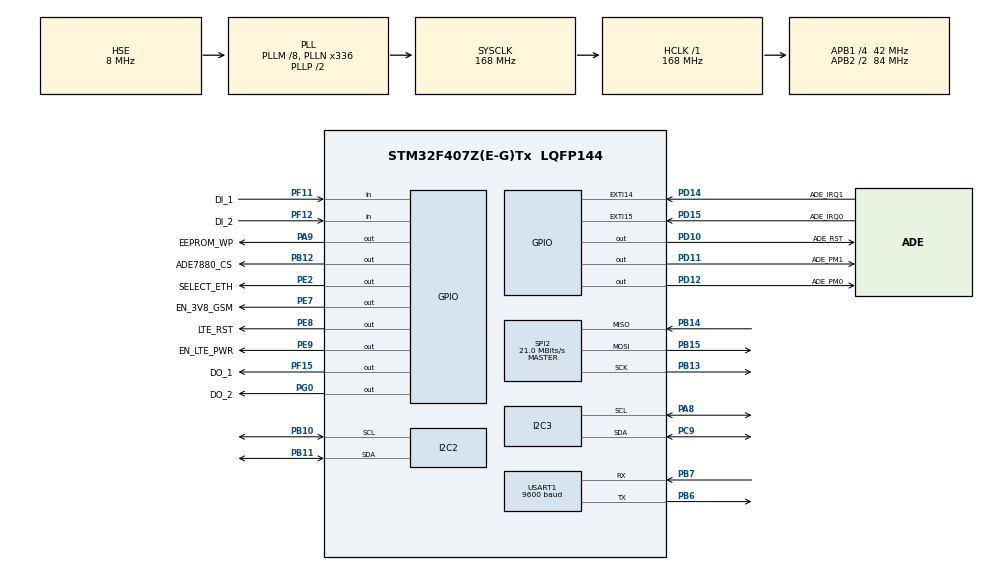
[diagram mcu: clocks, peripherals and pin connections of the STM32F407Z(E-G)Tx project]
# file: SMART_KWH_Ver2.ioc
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I2C2.I2C_Mode=I2C_Fast
I2C3.I2C_Mode=I2C_Fast
IWDG.Prescaler=IWDG_PRESCALER_256
Mcu.Family=STM32F4
Mcu.Name=STM32F407Z(E-G)Tx
Mcu.Package=LQFP144
NVIC.PriorityGroup=NVIC_PRIORITYGROUP_4
NVIC.USART1_IRQn=true\:0\:0\:false\:false\:true\:true\:true\:true
PA13.Mode=Serial_Wire
PA13.Signal=SYS_JTMS-SWDIO
PA14.Mode=Serial_Wire
PA14.Signal=SYS_JTCK-SWCLK
PA8.Mode=I2C
PA8.Signal=I2C3_SCL
PA9.GPIO_Label=EEPROM_WP
PA9.Signal=GPIO_Output
PB10.Mode=I2C
PB10.Signal=I2C2_SCL
PB11.Mode=I2C
PB11.Signal=I2C2_SDA
PB12.GPIO_Label=ADE7880_CS
PB12.Signal=GPIO_Output
PB13.Mode=Full_Duplex_Master
PB13.Signal=SPI2_SCK
PB14.Mode=Full_Duplex_Master
PB14.Signal=SPI2_MISO
PB15.Mode=Full_Duplex_Master
PB15.Signal=SPI2_MOSI
PB6.Mode=Asynchronous
PB6.Signal=USART1_TX
PB7.Mode=Asynchronous
PB7.Signal=USART1_RX
PC9.Mode=I2C
PC9.Signal=I2C3_SDA
PD10.GPIO_Label=ADE_RST
PD10.Signal=GPIO_Output
PD11.GPIO_Label=ADE_PM1
PD11.Signal=GPIO_Output
PD12.GPIO_Label=ADE_PM0
PD12.Signal=GPIO_Output
PD14.GPIO_Label=ADE_IRQ1
PD14.Signal=GPXTI14
PD15.GPIO_Label=ADE_IRQ0
PD15.Signal=GPXTI15
PE2.GPIO_Label=SELECT_ETH
PE2.Signal=GPIO_Output
PE7.GPIO_Label=EN_3V8_GSM
PE7.Signal=GPIO_Output
PE8.GPIO_Label=LTE_RST
PE8.Signal=GPIO_Output
PE9.GPIO_Label=EN_LTE_PWR
PE9.Signal=GPIO_Output
PF11.GPIO_Label=DI_1
PF11.Signal=GPIO_Input
PF12.GPIO_Label=DI_2
PF12.Signal=GPIO_Input
PF15.GPIO_Label=DO_1
PF15.Signal=GPIO_Output
PG0.GPIO_Label=DO_2
PG0.Signal=GPIO_Output
PH0-OSC_IN.Mode=HSE-External-Oscillator
PH0-OSC_IN.Signal=RCC_OSC_IN
PH1-OSC_OUT.Mode=HSE-External-Oscillator
PH1-OSC_OUT.Signal=RCC_OSC_OUT
ProjectManager.HeapSize=0x200
ProjectManager.StackSize=0x400
ProjectManager.TargetToolchain=STM32CubeIDE
RCC.48MHZClocksFreq_Value=84000000
RCC.AHBFreq_Value=168000000
RCC.APB1CLKDivider=RCC_HCLK_DIV4
RCC.APB1Freq_Value=42000000
RCC.APB1TimFreq_Value=84000000
RCC.APB2CLKDivider=RCC_HCLK_DIV2
RCC.APB2Freq_Value=84000000
RCC.APB2TimFreq_Value=168000000
RCC.CortexFreq_Value=168000000
RCC.HCLKFreq_Value=168000000
RCC.HSE_VALUE=8000000
RCC.HSI_VALUE=16000000
RCC.LSE_VALUE=32768
RCC.PLLM=8
RCC.PLLN=336
RCC.PLLSourceVirtual=RCC_PLLSOURCE_HSE
RCC.SYSCLKFreq_VALUE=168000000
RCC.SYSCLKSource=RCC_SYSCLKSOURCE_PLLCLK
RCC.VCOOutputFreq_Value=336000000
SPI2.CalculateBaudRate=21.0 MBits/s
SPI2.Direction=SPI_DIRECTION_2LINES
SPI2.Mode=SPI_MODE_MASTER
SPI2.VirtualType=VM_MASTER
USART1.BaudRate=9600
USART1.VirtualMode=VM_ASYNC
VP_IWDG_VS_IWDG.Mode=IWDG_Activate
board=custom

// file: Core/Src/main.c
/* USER CODE BEGIN Header */
/**
  ******************************************************************************
  * @file           : main.c
  * @brief          : Main program body
  ******************************************************************************
  * @attention
  *
  * Copyright (c) 2026 STMicroelectronics.
  * All rights reserved.
  *
  * This software is licensed under terms that can be found in the LICENSE file
  * in the root directory of this software component.
  * If no LICENSE file comes with this software, it is provided AS-IS.
  *
  ******************************************************************************
  */
/* USER CODE END Header */
#include "main.h"

/* USER CODE BEGIN Includes */
#include "ade7880_reader.h"
#include "mqtt.h"
#include "uart.h"
#include "config.h"
#include "ssd1306.h"
#include <stdlib.h>
#include <stdio.h>
/* USER CODE END Includes */

/* USER CODE BEGIN PTD */
#define READ_INTERVAL_MS    1000        /* Baca sensor setiap 1 detik  */
#define PUBLISH_INTERVAL_MS 30000       /* Kirim MQTT setiap 30 detik  */
#define STUCK_THRESHOLD     10          /* Reinit jika nilai sama N kali */

static uint32_t last_read_tick    = 0;  /* timer pembacaan sensor  */
static uint32_t last_publish_tick = 0;  /* timer pengiriman MQTT   */
static float    last_VRms_R    = -1;
static float    last_VRms_S    = -1;
static float    last_VRms_T    = -1;
static uint8_t  stuck_count    = 0;

/* ─────────────────────────────────────────────────────────────────────────── */
/*  KONTROL RELAY                                                              */
/* ─────────────────────────────────────────────────────────────────────────── */
/* true  = DO2 mengikuti DI2 (normal)                                         */
/* false = DO2 selalu LOW, berapapun nilai DI2 (dinonaktifkan via MQTT R2=0)  */
static bool relay2_enabled = true;

/* ─────────────────────────────────────────────────────────────────────────── */
/*  PEMBACAAN MODEM QUECTEL                                                  */
/* ─────────────────────────────────────────────────────────────────────────── */
static int     retry_count    = 0;
static int     total_retry    = 0;
//static uint8_t mqtt_published = 0;
static char    last_topic[128]   = {0};
static char    last_payload[512] = {0};
/* USER CODE END PTD */

I2C_HandleTypeDef hi2c2;
I2C_HandleTypeDef hi2c3;

IWDG_HandleTypeDef hiwdg;

SPI_HandleTypeDef hspi2;

UART_HandleTypeDef huart1;

void SystemClock_Config(void);
static void MX_GPIO_Init(void);
static void MX_SPI2_Init(void);
static void MX_IWDG_Init(void);
static void MX_USART1_UART_Init(void);
static void MX_I2C2_Init(void);
static void MX_I2C3_Init(void);

int main(void)
{

  /* MCU Configuration--------------------------------------------------------*/

  /* Reset of all peripherals, Initializes the Flash interface and the Systick. */
  HAL_Init();

  /* Configure the system clock */
  SystemClock_Config();

  /* Initialize all configured peripherals */
  MX_GPIO_Init();
  MX_SPI2_Init();
  MX_IWDG_Init();
  MX_USART1_UART_Init();
  MX_I2C2_Init();
  MX_I2C3_Init();
  /* USER CODE BEGIN 2 */
  ADE7880_Config();
  SSD1309_Init(&hi2c2);
  HAL_IWDG_Refresh(&hiwdg);
  UART_Init_Buffer(&huart1);  /* modem terhubung ke USART1 di board ini */

  HAL_GPIO_WritePin(EN_3V8_GSM_GPIO_Port, EN_3V8_GSM_Pin, GPIO_PIN_SET);
  HAL_GPIO_WritePin(EN_LTE_PWR_GPIO_Port, EN_LTE_PWR_Pin, GPIO_PIN_SET);
  HAL_GPIO_WritePin(LTE_RST_GPIO_Port,    LTE_RST_Pin,    GPIO_PIN_RESET);
  HAL_GPIO_WritePin(SELECT_ETH_GPIO_Port, SELECT_ETH_Pin, GPIO_PIN_RESET);

    SSD1309_Clear();
    HAL_Delay(50);
    SSD1309_DrawBitmap(siklon_logo, 6);
    SSD1309_ShowStringCenter(7,"HANDAL-TERANGMUDAH");
    HAL_Delay(4000);
    SSD1309_Clear();
    SSD1309_ShowString(0,0,"Mulai MQTT");
    SSD1309_ShowString(80,0,":...");
    SSD1309_ShowString(0,1,"Koneksi MQTT");
    SSD1309_ShowString(80,1,":...");
    SSD1309_ShowString(0,2,"Daftar Topik");
    SSD1309_ShowString(80,2,":...");
    SSD1309_ShowStringCenter(6,"== SMART KWH Ver.2 ==");
    SSD1309_ShowStringCenter(7,"== MEMUAT... ==");

    HAL_Delay(6000);
    UART_ClearBuffer();
    HAL_Delay(500);

    for (int i = 0; i < 3; i++)
    {
        UART_SendATCommand("ATE0");
        if (UART_WaitForOK(2000)) break;
        HAL_Delay(500);
    }

    /* ── Build MQTT credentials dari config.c ───────────────────────────────── */
    MQTT_Config mqtt_cfg = Config_GetMQTT();
    MQTT_Init(&mqtt_cfg);

    /* ── MQTT connection sequence ────────────────────────────────────────────── */
    MQTT_START:
    retry_count = 0;
    total_retry = 0;

    UART_SendATCommand("AT+QMTCFG=\"session\",0,1");
    UART_WaitForOK(3000);
    UART_SendATCommand("AT+QMTCFG=\"keepalive\",0,3600");
    UART_WaitForOK(3000);

    UART_SendATCommand("AT+QMTDISC=0");
    HAL_Delay(500);
    UART_SendATCommand("AT+QMTCLOSE=0");
    HAL_Delay(2000);

    while (MQTT_Open() != MQTT_OK)
    {
        HAL_IWDG_Refresh(&hiwdg);   /* cegah IWDG reset selama retry (~32s limit) */
        SSD1309_ClearArea(80, 0, 40);
  	    SSD1309_ShowString(80,0,":GAGAL");
        MQTT_CheckNetwork();
        UART_SendATCommand("AT+QMTCLOSE=0");
        HAL_IWDG_Refresh(&hiwdg);
        HAL_Delay(3000);
        retry_count++;
        total_retry++;

        if (total_retry >= 10)
        {
            HAL_GPIO_WritePin(EN_3V8_GSM_GPIO_Port, EN_3V8_GSM_Pin, GPIO_PIN_RESET);
            HAL_GPIO_WritePin(EN_LTE_PWR_GPIO_Port, EN_LTE_PWR_Pin, GPIO_PIN_RESET);
            HAL_IWDG_Refresh(&hiwdg);
            HAL_Delay(3000);
            NVIC_SystemReset();
            while (1) {}
        }
        if (retry_count >= 5)
        {
            retry_count = 0;
            goto MQTT_START;
        }
    }
    SSD1309_ClearArea(80, 0, 40);
    SSD1309_ShowString(80,0,":SIAP");

    while (MQTT_Connect() != MQTT_OK)
    {
        HAL_IWDG_Refresh(&hiwdg);
  	    SSD1309_ClearArea(80, 1, 40);
  	    SSD1309_ShowString(80,1,":GAGAL");
        UART_SendATCommand("AT+QMTDISC=0");
        retry_count++;
        HAL_Delay(500);
        if (retry_count >= 3)
        {
            retry_count = 0;
            goto MQTT_START;
        }
        total_retry++;
        if (total_retry > 10)
        {
            NVIC_SystemReset();
            while (1) {}
        }
    }
    SSD1309_ClearArea(80, 1, 40);
    SSD1309_ShowString(80,1,":SIAP");

    retry_count = 0;
    while (MQTT_Subscribe(mqtt_topic_sub, 1) != MQTT_OK)
    {
        HAL_IWDG_Refresh(&hiwdg);
  	    SSD1309_ClearArea(80, 2, 40);
  	    SSD1309_ShowString(80,2,":GAGAL");
        HAL_Delay(2000);
        retry_count++;
        if (retry_count >= 5) goto MQTT_START;
    }
    SSD1309_ClearArea(80, 2, 40);
    SSD1309_ShowString(80,2,":SIAP");
    SSD1309_ClearArea(0, 7, 120);
    SSD1309_ShowStringCenter(7,"== TERHUBUNG ==");
    HAL_Delay(1000);

    const char *payload = "{Terhubung dengan Smart-KWV V.2}";
    MQTT_Publish(mqtt_topic_pub, payload, 1, 0);
    SSD1309_Clear();
    HAL_Delay(50);
    /* ── Setup tampilan sensor OLED setelah koneksi berhasil ─────────────── */
    SSD1309_ClearRect(0, 0, 128, 6);           /* bersihkan page 0-5        */
    SSD1309_ShowString(0, 0, "  V(V)   I(A)  P(W)");
    SSD1309_ShowString(0, 1, "R:  --    --     --");
    SSD1309_ShowString(0, 2, "S:  --    --     --");
    SSD1309_ShowString(0, 3, "T:  --    --     --");
    SSD1309_ShowStringCenter(6, "== SMART KWH Ver.2 ==");
    SSD1309_ShowStringCenter(7, "== BERJALAN ==");

    /* Set timer agar publish data sensor dimulai 30 detik setelah koneksi */
    last_read_tick    = HAL_GetTick();
    last_publish_tick = HAL_GetTick();
  /* USER CODE END 2 */

  /* Infinite loop */
  while (1)
  {

    /* USER CODE BEGIN 3 */
      /* ── Pembacaan sensor ADE7880 setiap 1 detik ──────────────────────────── */
      if ((HAL_GetTick() - last_read_tick) >= READ_INTERVAL_MS)
      {
          last_read_tick = HAL_GetTick();

          HAL_IWDG_Refresh(&hiwdg);
          ADE7880_ReadAll();
          HAL_IWDG_Refresh(&hiwdg);

          /* Stuck detection: jika VRms tidak berubah N kali berturut, reinit */
          if (ade_data.VRms_R == last_VRms_R &&
              ade_data.VRms_S == last_VRms_S &&
              ade_data.VRms_T == last_VRms_T)
          {
              stuck_count++;
              if (stuck_count > STUCK_THRESHOLD)
              {
                  ADE7880_Config();
                  stuck_count = 0;
              }
          }
          else
          {
              stuck_count = 0;
          }

          last_VRms_R = ade_data.VRms_R;
          last_VRms_S = ade_data.VRms_S;
          last_VRms_T = ade_data.VRms_T;

          /* ── Update nilai sensor ke OLED setiap 1 detik ──────────────── */
          char oled_buf[24];
          snprintf(oled_buf, sizeof(oled_buf), "R:%5.1f %5.3f %5.0f",
                   ade_data.VRms_R, ade_data.IRms_R, ade_data.Pow_R);
          SSD1309_ClearArea(0, 1, 128);
          SSD1309_ShowString(0, 1, oled_buf);

          snprintf(oled_buf, sizeof(oled_buf), "S:%5.1f %5.3f %5.0f",
                   ade_data.VRms_S, ade_data.IRms_S, ade_data.Pow_S);
          SSD1309_ClearArea(0, 2, 128);
          SSD1309_ShowString(0, 2, oled_buf);

          snprintf(oled_buf, sizeof(oled_buf), "T:%5.1f %5.3f %5.0f",
                   ade_data.VRms_T, ade_data.IRms_T, ade_data.Pow_T);
          SSD1309_ClearArea(0, 3, 128);
          SSD1309_ShowString(0, 3, oled_buf);
      }

      /* ── Pengiriman MQTT berdasarkan request (H:"R") dari downlink ────────
       * Timer 30 detik dinonaktifkan — data dikirim hanya saat ada permintaan.
       * Untuk mengaktifkan kembali: hapus komentar blok di bawah ini.        */
//      if ((HAL_GetTick() - last_publish_tick) >= PUBLISH_INTERVAL_MS)
//      {
//          last_publish_tick = HAL_GetTick();
//          /* ... snprintf + MQTT_Publish ... */
//      }
      if (mqtt_disconnected)
      {
          mqtt_disconnected = false;
          if (MQTT_Reconnect() == MQTT_OK)
          {
              MQTT_Subscribe(mqtt_topic_sub, 1);
          }
          else
          {
              goto MQTT_START;
          }
      }

      /* ── Proses pesan masuk dari MQTT downlink ──────────────────────────── */
      if (mqtt_data_ready)
      {
          if (MQTT_ProcessIncoming(last_topic,   sizeof(last_topic),
                                   last_payload, sizeof(last_payload)))
          {
              /* Buffer sudah disalin ke last_payload — langsung hapus rxBuffer
               * agar pesan MQTT berikutnya bisa masuk ke buffer yang bersih
               * (termasuk saat MQTT_Publish sedang berjalan di bawah).       */
              UART_ClearBuffer();

              /* ── Validasi CRC payload masuk ──────────────────────────────
               * Format yg diharapkan: {"CRC":"XXXX","DATA":{...}}
               * Jika CRC tidak cocok / tidak ada → abaikan payload.          */
              if (!MQTT_VerifyPayloadCRC(last_payload))
              {
                  /* CRC mismatch: payload korup atau format tidak sesuai.
                   * Abaikan dan tunggu pesan berikutnya. */
                  goto SKIP_PAYLOAD;
              }

              /* Ekstrak object DATA agar pencarian field hanya pada konten
               * yang relevan (lebih aman terhadap field di luar DATA).       */
              char data_obj[512];
              if (!MQTT_ExtractDataObject(last_payload, data_obj, sizeof(data_obj)))
                  goto SKIP_PAYLOAD;

              /* ── Command H:"R" — kirim data sensor ADE7880 on-demand ──── */
              if (strstr(data_obj, "\"H\":\"R\"") != NULL)
              {
                  /* Bangun hanya isi object DATA. Wrapper {"CRC":..,"DATA":..}
                   * akan ditambahkan otomatis oleh MQTT_PublishWithCRC().    */
                  char data_payload[800];
                  snprintf(data_payload, sizeof(data_payload),
                      "{"
                      "\"H\":\"K\","
                      "\"VR\":%.2f,\"VS\":%.2f,\"VT\":%.2f,"
                      "\"IR\":%.4f,\"IS\":%.4f,\"IT\":%.4f,"
                      "\"PR\":%.2f,\"PS\":%.2f,\"PT\":%.2f,"
                      "\"WHR\":%.4f,\"WHS\":%.4f,\"WHT\":%.4f,"
                      "\"PFR\":%.3f,\"PFS\":%.3f,\"PFT\":%.3f"
                      "}",
                      ade_data.VRms_R, ade_data.VRms_S, ade_data.VRms_T,
                      ade_data.IRms_R, ade_data.IRms_S, ade_data.IRms_T,
                      ade_data.Pow_R,  ade_data.Pow_S,  ade_data.Pow_T,
                      ade_data.WH_R,   ade_data.WH_S,   ade_data.WH_T,
                      ade_data.Pf_R,   ade_data.Pf_S,   ade_data.Pf_T);
                  HAL_IWDG_Refresh(&hiwdg);
                  MQTT_StatusTypeDef pub_result =
                      MQTT_PublishWithCRC(mqtt_topic_pub, data_payload, 1, 0);
                  HAL_IWDG_Refresh(&hiwdg);

                  /* Reset akumulasi KWH setelah publish berhasil (Pilihan A).
                   * WH mulai hitung ulang dari 0 untuk interval berikutnya.
                   *
                   * TODO: Setelah EEPROM terpasang, tambahkan di sini:
                   *   EEPROM_Save_WH_Offset();  ← simpan total kumulatif
                   *   sebelum reset, agar total tidak hilang saat power off. */
                  if (pub_result == MQTT_OK)
                  {
                      ADE7880_ResetWH();
                  }
              }
              /* ── Command H:"S" — set kontrol relay DO2 ──────────────── */
              else if (strstr(data_obj, "\"H\":\"S\"") != NULL)
              {
                  if      (strstr(data_obj, "\"R2\":1") != NULL)
                      relay2_enabled = true;   /* DO2 ikut DI2 */
                  else if (strstr(data_obj, "\"R2\":0") != NULL)
                      relay2_enabled = false;  /* DO2 paksa LOW */
              }

          SKIP_PAYLOAD:
              ;   /* label akhir; payload selesai diproses / dilewati */
          }
          else
          {
              /* Parsing gagal (format tidak dikenal) — reset manual */
              mqtt_data_ready = false;
              UART_ClearBuffer();
          }
      }

      HAL_Delay(10);
      /* ── Kontrol DO2 ─────────────────────────────────────────────────────
       * relay2_enabled=true  → DO2 mengikuti DI2 (normal)
       * relay2_enabled=false → DO2 selalu LOW (dikunci via MQTT R2=0)       */
      GPIO_PinState di2 = HAL_GPIO_ReadPin(DI_2_GPIO_Port, DI_2_Pin);
      HAL_GPIO_WritePin(DO_2_GPIO_Port, DO_2_Pin,
                        relay2_enabled ? di2 : GPIO_PIN_RESET);
  }
  /* USER CODE END 3 */
}

void SystemClock_Config(void)
{
  RCC_OscInitTypeDef RCC_OscInitStruct = {0};
  RCC_ClkInitTypeDef RCC_ClkInitStruct = {0};

  /** Configure the main internal regulator output voltage
  */
  __HAL_RCC_PWR_CLK_ENABLE();
  __HAL_PWR_VOLTAGESCALING_CONFIG(PWR_REGULATOR_VOLTAGE_SCALE1);

  /** Initializes the RCC Oscillators according to the specified parameters
  * in the RCC_OscInitTypeDef structure.
  */
  RCC_OscInitStruct.OscillatorType = RCC_OSCILLATORTYPE_LSI|RCC_OSCILLATORTYPE_HSE;
  RCC_OscInitStruct.HSEState = RCC_HSE_ON;
  RCC_OscInitStruct.LSIState = RCC_LSI_ON;
  RCC_OscInitStruct.PLL.PLLState = RCC_PLL_ON;
  RCC_OscInitStruct.PLL.PLLSource = RCC_PLLSOURCE_HSE;
  RCC_OscInitStruct.PLL.PLLM = 8;
  RCC_OscInitStruct.PLL.PLLN = 336;
  RCC_OscInitStruct.PLL.PLLP = RCC_PLLP_DIV2;
  RCC_OscInitStruct.PLL.PLLQ = 4;
  if (HAL_RCC_OscConfig(&RCC_OscInitStruct) != HAL_OK)
  {
    Error_Handler();
  }

  /** Initializes the CPU, AHB and APB buses clocks
  */
  RCC_ClkInitStruct.ClockType = RCC_CLOCKTYPE_HCLK|RCC_CLOCKTYPE_SYSCLK
                              |RCC_CLOCKTYPE_PCLK1|RCC_CLOCKTYPE_PCLK2;
  RCC_ClkInitStruct.SYSCLKSource = RCC_SYSCLKSOURCE_PLLCLK;
  RCC_ClkInitStruct.AHBCLKDivider = RCC_SYSCLK_DIV1;
  RCC_ClkInitStruct.APB1CLKDivider = RCC_HCLK_DIV4;
  RCC_ClkInitStruct.APB2CLKDivider = RCC_HCLK_DIV2;

  if (HAL_RCC_ClockConfig(&RCC_ClkInitStruct, FLASH_LATENCY_5) != HAL_OK)
  {
    Error_Handler();
  }
}

static void MX_I2C2_Init(void)
{

  hi2c2.Instance = I2C2;
  hi2c2.Init.ClockSpeed = 400000;
  hi2c2.Init.DutyCycle = I2C_DUTYCYCLE_2;
  hi2c2.Init.OwnAddress1 = 0;
  hi2c2.Init.AddressingMode = I2C_ADDRESSINGMODE_7BIT;
  hi2c2.Init.DualAddressMode = I2C_DUALADDRESS_DISABLE;
  hi2c2.Init.OwnAddress2 = 0;
  hi2c2.Init.GeneralCallMode = I2C_GENERALCALL_DISABLE;
  hi2c2.Init.NoStretchMode = I2C_NOSTRETCH_DISABLE;
  if (HAL_I2C_Init(&hi2c2) != HAL_OK)
  {
    Error_Handler();
  }

}

static void MX_I2C3_Init(void)
{

  hi2c3.Instance = I2C3;
  hi2c3.Init.ClockSpeed = 400000;
  hi2c3.Init.DutyCycle = I2C_DUTYCYCLE_2;
  hi2c3.Init.OwnAddress1 = 0;
  hi2c3.Init.AddressingMode = I2C_ADDRESSINGMODE_7BIT;
  hi2c3.Init.DualAddressMode = I2C_DUALADDRESS_DISABLE;
  hi2c3.Init.OwnAddress2 = 0;
  hi2c3.Init.GeneralCallMode = I2C_GENERALCALL_DISABLE;
  hi2c3.Init.NoStretchMode = I2C_NOSTRETCH_DISABLE;
  if (HAL_I2C_Init(&hi2c3) != HAL_OK)
  {
    Error_Handler();
  }

}

static void MX_IWDG_Init(void)
{

  hiwdg.Instance = IWDG;
  hiwdg.Init.Prescaler = IWDG_PRESCALER_256;
  hiwdg.Init.Reload = 4095;
  if (HAL_IWDG_Init(&hiwdg) != HAL_OK)
  {
    Error_Handler();
  }

}

static void MX_SPI2_Init(void)
{

  /* SPI2 parameter configuration*/
  hspi2.Instance = SPI2;
  hspi2.Init.Mode = SPI_MODE_MASTER;
  hspi2.Init.Direction = SPI_DIRECTION_2LINES;
  hspi2.Init.DataSize = SPI_DATASIZE_8BIT;
  hspi2.Init.CLKPolarity = SPI_POLARITY_LOW;
  hspi2.Init.CLKPhase = SPI_PHASE_1EDGE;
  hspi2.Init.NSS = SPI_NSS_SOFT;
  hspi2.Init.BaudRatePrescaler = SPI_BAUDRATEPRESCALER_2;
  hspi2.Init.FirstBit = SPI_FIRSTBIT_MSB;
  hspi2.Init.TIMode = SPI_TIMODE_DISABLE;
  hspi2.Init.CRCCalculation = SPI_CRCCALCULATION_DISABLE;
  hspi2.Init.CRCPolynomial = 10;
  if (HAL_SPI_Init(&hspi2) != HAL_OK)
  {
    Error_Handler();
  }

}

static void MX_USART1_UART_Init(void)
{

  huart1.Instance = USART1;
  huart1.Init.BaudRate = 9600;
  huart1.Init.WordLength = UART_WORDLENGTH_8B;
  huart1.Init.StopBits = UART_STOPBITS_1;
  huart1.Init.Parity = UART_PARITY_NONE;
  huart1.Init.Mode = UART_MODE_TX_RX;
  huart1.Init.HwFlowCtl = UART_HWCONTROL_NONE;
  huart1.Init.OverSampling = UART_OVERSAMPLING_16;
  if (HAL_UART_Init(&huart1) != HAL_OK)
  {
    Error_Handler();
  }

}

static void MX_GPIO_Init(void)
{
  GPIO_InitTypeDef GPIO_InitStruct = {0};

  /* GPIO Ports Clock Enable */
  __HAL_RCC_GPIOE_CLK_ENABLE();
  __HAL_RCC_GPIOH_CLK_ENABLE();
  __HAL_RCC_GPIOF_CLK_ENABLE();
  __HAL_RCC_GPIOG_CLK_ENABLE();
  __HAL_RCC_GPIOB_CLK_ENABLE();
  __HAL_RCC_GPIOD_CLK_ENABLE();
  __HAL_RCC_GPIOC_CLK_ENABLE();
  __HAL_RCC_GPIOA_CLK_ENABLE();

  /*Configure GPIO pin Output Level */
  HAL_GPIO_WritePin(GPIOE, SELECT_ETH_Pin|EN_3V8_GSM_Pin|LTE_RST_Pin|EN_LTE_PWR_Pin, GPIO_PIN_RESET);

  /*Configure GPIO pin Output Level */
  HAL_GPIO_WritePin(DO_1_GPIO_Port, DO_1_Pin, GPIO_PIN_RESET);

  /*Configure GPIO pin Output Level */
  HAL_GPIO_WritePin(DO_2_GPIO_Port, DO_2_Pin, GPIO_PIN_RESET);

  /*Configure GPIO pin Output Level */
  HAL_GPIO_WritePin(ADE7880_CS_GPIO_Port, ADE7880_CS_Pin, GPIO_PIN_RESET);

  /*Configure GPIO pin Output Level */
  HAL_GPIO_WritePin(GPIOD, ADE_RST_Pin|ADE_PM1_Pin|ADE_PM0_Pin, GPIO_PIN_RESET);

  /*Configure GPIO pin Output Level */
  HAL_GPIO_WritePin(EEPROM_WP_GPIO_Port, EEPROM_WP_Pin, GPIO_PIN_RESET);

  /*Configure GPIO pins : SELECT_ETH_Pin EN_3V8_GSM_Pin LTE_RST_Pin EN_LTE_PWR_Pin */
  GPIO_InitStruct.Pin = SELECT_ETH_Pin|EN_3V8_GSM_Pin|LTE_RST_Pin|EN_LTE_PWR_Pin;
  GPIO_InitStruct.Mode = GPIO_MODE_OUTPUT_PP;
  GPIO_InitStruct.Pull = GPIO_NOPULL;
  GPIO_InitStruct.Speed = GPIO_SPEED_FREQ_LOW;
  HAL_GPIO_Init(GPIOE, &GPIO_InitStruct);

  /*Configure GPIO pins : DI_1_Pin DI_2_Pin */
  GPIO_InitStruct.Pin = DI_1_Pin|DI_2_Pin;
  GPIO_InitStruct.Mode = GPIO_MODE_INPUT;
  GPIO_InitStruct.Pull = GPIO_NOPULL;
  HAL_GPIO_Init(GPIOF, &GPIO_InitStruct);

  /*Configure GPIO pin : DO_1_Pin */
  GPIO_InitStruct.Pin = DO_1_Pin;
  GPIO_InitStruct.Mode = GPIO_MODE_OUTPUT_PP;
  GPIO_InitStruct.Pull = GPIO_NOPULL;
  GPIO_InitStruct.Speed = GPIO_SPEED_FREQ_LOW;
  HAL_GPIO_Init(DO_1_GPIO_Port, &GPIO_InitStruct);

  /*Configure GPIO pin : DO_2_Pin */
  GPIO_InitStruct.Pin = DO_2_Pin;
  GPIO_InitStruct.Mode = GPIO_MODE_OUTPUT_PP;
  GPIO_InitStruct.Pull = GPIO_NOPULL;
  GPIO_InitStruct.Speed = GPIO_SPEED_FREQ_LOW;
  HAL_GPIO_Init(DO_2_GPIO_Port, &GPIO_InitStruct);

  /*Configure GPIO pin : ADE7880_CS_Pin */
  GPIO_InitStruct.Pin = ADE7880_CS_Pin;
  GPIO_InitStruct.Mode = GPIO_MODE_OUTPUT_PP;
  GPIO_InitStruct.Pull = GPIO_NOPULL;
  GPIO_InitStruct.Speed = GPIO_SPEED_FREQ_LOW;
  HAL_GPIO_Init(ADE7880_CS_GPIO_Port, &GPIO_InitStruct);

  /*Configure GPIO pins : ADE_RST_Pin ADE_PM1_Pin ADE_PM0_Pin */
  GPIO_InitStruct.Pin = ADE_RST_Pin|ADE_PM1_Pin|ADE_PM0_Pin;
  GPIO_InitStruct.Mode = GPIO_MODE_OUTPUT_PP;
  GPIO_InitStruct.Pull = GPIO_NOPULL;
  GPIO_InitStruct.Speed = GPIO_SPEED_FREQ_LOW;
  HAL_GPIO_Init(GPIOD, &GPIO_InitStruct);

  /*Configure GPIO pins : ADE_IRQ1_Pin ADE_IRQ0_Pin */
  GPIO_InitStruct.Pin = ADE_IRQ1_Pin|ADE_IRQ0_Pin;
  GPIO_InitStruct.Mode = GPIO_MODE_IT_RISING;
  GPIO_InitStruct.Pull = GPIO_NOPULL;
  HAL_GPIO_Init(GPIOD, &GPIO_InitStruct);

  /*Configure GPIO pin : EEPROM_WP_Pin */
  GPIO_InitStruct.Pin = EEPROM_WP_Pin;
  GPIO_InitStruct.Mode = GPIO_MODE_OUTPUT_PP;
  GPIO_InitStruct.Pull = GPIO_NOPULL;
  GPIO_InitStruct.Speed = GPIO_SPEED_FREQ_LOW;
  HAL_GPIO_Init(EEPROM_WP_GPIO_Port, &GPIO_InitStruct);

}

void Error_Handler(void)
{
  __disable_irq();
  while (1)
  {
  }
}
